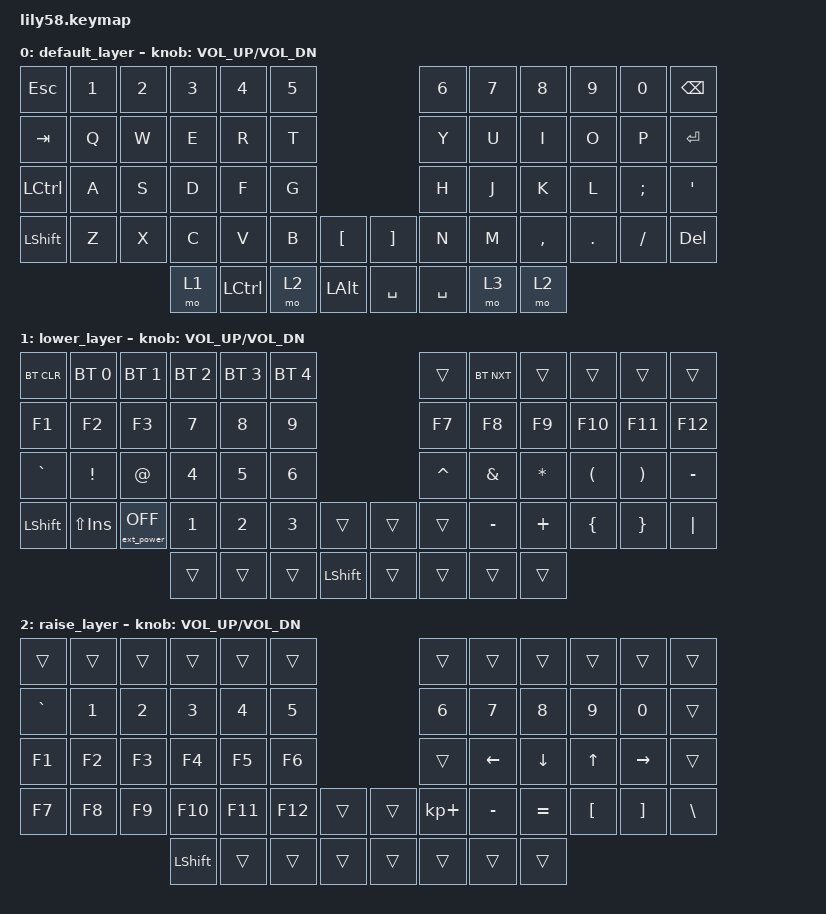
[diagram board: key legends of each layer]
/*
 * Copyright (c) 2020 The ZMK Contributors
 *
 * SPDX-License-Identifier: MIT
 */

#include <behaviors.dtsi>
#include <dt-bindings/zmk/bt.h>
#include <dt-bindings/zmk/ext_power.h>
#include <dt-bindings/zmk/keys.h>

/ {
    keymap {
        compatible = "zmk,keymap";

        default_layer {
            // ------------------------------------------------------------------------------------------------------------
            // |  ESC  |  1  |  2  |  3   |  4   |  5   |                   |  6   |  7    |  8    |  9   |   0   |   `   |
            // |  TAB  |  Q  |  W  |  E   |  R   |  T   |                   |  Y   |  U    |  I    |  O   |   P   |   -   |
            // |  CTRL |  A  |  S  |  D   |  F   |  G   |                   |  H   |  J    |  K    |  L   |   ;   |   '   |
            // | SHIFT |  Z  |  X  |  C   |  V   |  B   |   "["  |  |  "]"  |  N   |  M    |  ,    |  .   |   /   | SHIFT |
            //                     | ALT  | GUI  | LOWER|  SPACE |  | ENTER | RAISE| BSPC  | GUI   |

            bindings = <
&kp ESC    &kp N1  &kp N2  &kp N3  &kp N4     &kp N5                             &kp N6     &kp N7  &kp N8     &kp N9   &kp NUMBER_0  &kp BACKSPACE
&kp TAB    &kp Q   &kp W   &kp E   &kp R      &kp T                              &kp Y      &kp U   &kp I      &kp O    &kp P         &kp ENTER
&kp LCTRL  &kp A   &kp S   &kp D   &kp F      &kp G                              &kp H      &kp J   &kp K      &kp L    &kp SEMI      &kp SQT
&kp LSHFT  &kp Z   &kp X   &kp C   &kp V      &kp B   &kp LBKT        &kp RBKT   &kp N      &kp M   &kp COMMA  &kp DOT  &kp FSLH      &kp DELETE
                           &mo 1   &kp LCTRL  &mo 2   &kp LEFT_ALT    &kp SPACE  &kp SPACE  &mo 3   &mo 2
            >;

            sensor-bindings = <&inc_dec_kp C_VOLUME_UP C_VOL_DN>;
        };

        lower_layer {
            // ------------------------------------------------------------------------------------------------------------
            // | BTCLR | BT1 | BT2 |  BT3 |  BT4 |  BT5 |                   |      |       |       |      |       |       |
            // |  F1   |  F2 |  F3 |  F4  |  F5  |  F6  |                   |  F7  |  F8   |  F9   |  F10 |  F11  |  F12  |
            // |   `   |  !  |  @  |  #   |  $   |  %   |                   |  ^   |  &    |  *    |  (   |   )   |   ~   |
            // |       |     |     |      |      |      |        |  |       |      |  _    |  +    |  {   |   }   |  "|"  |
            //                     |      |      |      |        |  |       |      |       |       |

            bindings = <
&bt BT_CLR      &bt BT_SEL 0    &bt BT_SEL 1       &bt BT_SEL 2  &bt BT_SEL 3  &bt BT_SEL 4                            &trans     &bt BT_NXT  &trans     &trans    &trans    &trans
&kp F1          &kp F2          &kp F3             &kp N7        &kp N8        &kp N9                                  &kp F7     &kp F8      &kp F9     &kp F10   &kp F11   &kp F12
&kp GRAVE       &kp EXCL        &kp AT             &kp NUMBER_4  &kp N5        &kp NUMBER_6                            &kp CARET  &kp AMPS    &kp ASTRK  &kp LPAR  &kp RPAR  &kp MINUS
&kp LEFT_SHIFT  &kp LS(INSERT)  &ext_power EP_OFF  &kp NUMBER_1  &kp NUMBER_2  &kp NUMBER_3  &trans            &trans  &trans     &kp MINUS   &kp PLUS   &kp LBRC  &kp RBRC  &kp PIPE
                                                   &trans        &trans        &trans        &kp LEFT_SHIFT    &trans  &trans     &trans      &trans
            >;

            sensor-bindings = <&inc_dec_kp C_VOL_UP C_VOL_DN>;
        };

        raise_layer {
            // ------------------------------------------------------------------------------------------------------------
            // |       |     |     |      |      |      |                   |      |       |       |      |       |       |
            // |   `   |  1  |  2  |  3   |  4   |  5   |                   |  6   |   7   |   8   |  9   |   0   |       |
            // |   F1  |  F2 |  F3 |  F4  |  F5  |  F6  |                   |      |   <-  |   v   |  ^   |  ->   |       |
            // |   F7  |  F8 |  F9 |  F10 |  F11 |  F12 |        |  |       |  +   |   -   |   =   |  [   |   ]   |   \   |
            //                     |      |      |      |        |  |       |      |       |       |

            bindings = <
&trans     &trans  &trans  &trans          &trans   &trans                     &trans       &trans     &trans     &trans    &trans     &trans
&kp GRAVE  &kp N1  &kp N2  &kp N3          &kp N4   &kp N5                     &kp N6       &kp N7     &kp N8     &kp N9    &kp N0     &trans
&kp F1     &kp F2  &kp F3  &kp F4          &kp F5   &kp F6                     &trans       &kp LEFT   &kp DOWN   &kp UP    &kp RIGHT  &trans
&kp F7     &kp F8  &kp F9  &kp F10         &kp F11  &kp F12  &trans    &trans  &kp KP_PLUS  &kp MINUS  &kp EQUAL  &kp LBKT  &kp RBKT   &kp BSLH
                           &kp LEFT_SHIFT  &trans   &trans   &trans    &trans  &trans       &trans     &trans
            >;

            sensor-bindings = <&inc_dec_kp C_VOL_UP C_VOL_DN>;
        };
    };
};
